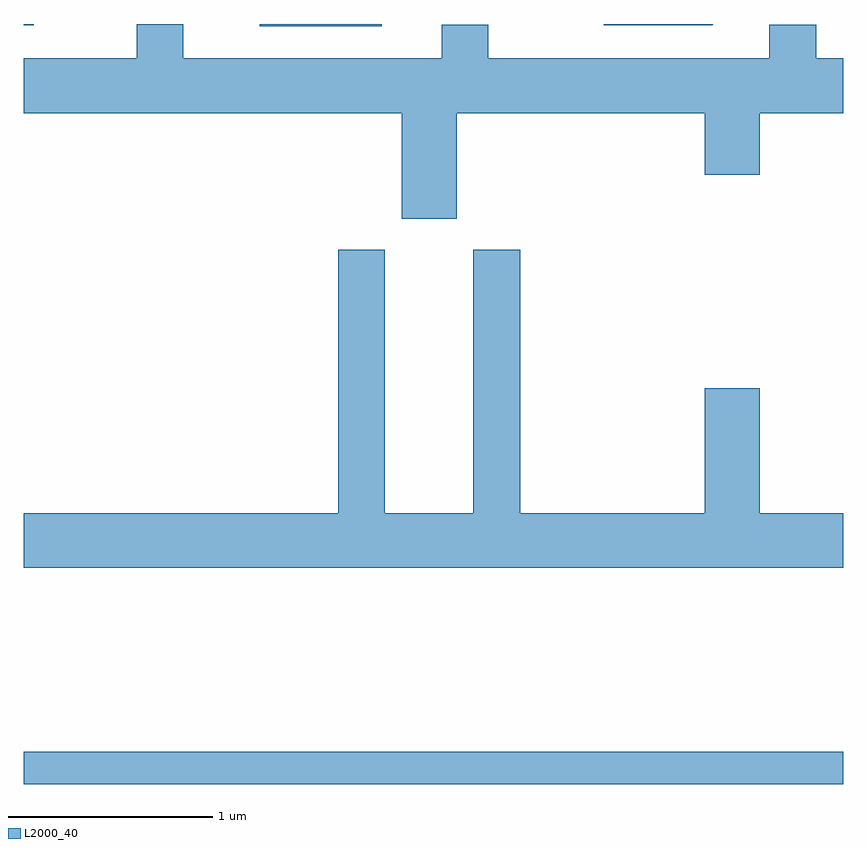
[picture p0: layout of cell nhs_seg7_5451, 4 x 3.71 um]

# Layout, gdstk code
import gdstk
lib = gdstk.Library(unit=1e-6, precision=1e-09)
def R(c, l, rs):  # rectangles x0, y0, x1, y1
    for r in rs: c.add(gdstk.rectangle(r[:2], r[2:], *l))
def P(c, l, *ps):  # polygons
    for p in ps: c.add(gdstk.Polygon(p, *l))
L2000_40 = (2000, 40)

nhs_seg7_5451 = lib.new_cell('nhs_seg7_5451')
R(nhs_seg7_5451, L2000_40, [(351.611,1766.541,355.611,1766.699), (352.763,1770.241,353.359,1770.252), (351.611,1770.246,351.659,1770.252)])
P(nhs_seg7_5451, L2000_40, [(354.978,1770.252),(354.443,1770.252),(354.443,1770.246),(354.972,1770.246)],
  [(353.724,1769.816),(354.936,1769.816),(354.936,1769.516),(355.204,1769.516),(355.204,1769.816),(355.611,1769.816),(355.611,1770.084),(355.479,1770.084),(355.479,1770.249),(355.251,1770.249),(355.251,1770.084),(353.879,1770.084),(353.879,1770.249),(353.651,1770.249),(353.651,1770.084),(352.389,1770.084),(352.389,1770.252),(352.161,1770.252),(352.161,1770.084),(351.611,1770.084),(351.611,1769.816),(353.456,1769.816),(353.456,1769.301),(353.724,1769.301)],
  [(355.611,1767.864),(355.204,1767.864),(355.204,1768.474),(354.936,1768.474),(354.936,1767.864),(354.034,1767.864),(354.034,1769.149),(353.806,1769.149),(353.806,1767.864),(353.374,1767.864),(353.374,1769.149),(353.146,1769.149),(353.146,1767.864),(351.611,1767.864),(351.611,1767.596),(355.611,1767.596)])

lib.write_gds('nhs_seg7_5451.gds')
